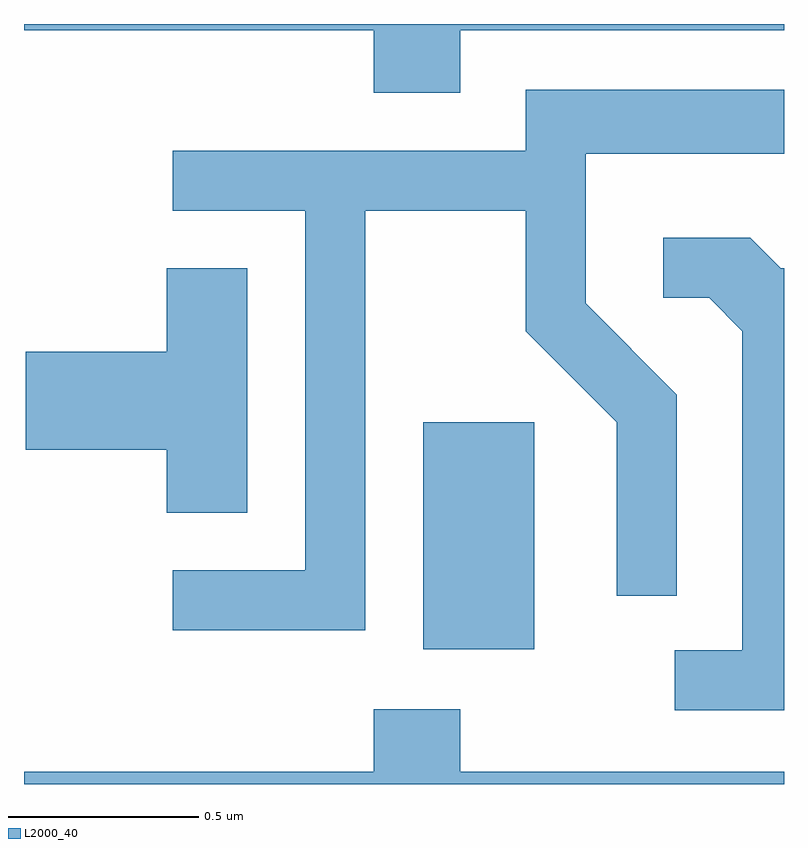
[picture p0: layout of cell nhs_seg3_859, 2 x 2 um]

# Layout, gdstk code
import gdstk
lib = gdstk.Library(unit=1e-6, precision=1e-09)
def R(c, l, rs):  # rectangles x0, y0, x1, y1
    for r in rs: c.add(gdstk.rectangle(r[:2], r[2:], *l))
def P(c, l, *ps):  # polygons
    for p in ps: c.add(gdstk.Polygon(p, *l))
L2000_40 = (2000, 40)

nhs_seg3_859 = lib.new_cell('nhs_seg3_859')
R(nhs_seg3_859, L2000_40, [(192.661,1153.246,192.954,1153.844)])
P(nhs_seg3_859, L2000_40, [(192.759,1154.876),(193.611,1154.876),(193.611,1154.892),(191.611,1154.892),(191.611,1154.876),(192.531,1154.876),(192.531,1154.711),(192.759,1154.711)],
  [(192.509,1154.401),(192.931,1154.401),(192.931,1154.084),(193.171,1153.844),(193.171,1153.388),(193.329,1153.388),(193.329,1153.917),(193.089,1154.157),(193.089,1154.551),(193.611,1154.551),(193.611,1154.719),(192.931,1154.719),(192.931,1154.559),(192.003,1154.559),(192.003,1154.401),(192.351,1154.401),(192.351,1153.454),(192.003,1153.454),(192.003,1153.296),(192.509,1153.296)],
  [(193.611,1154.249),(193.602,1154.249),(193.522,1154.329),(193.293,1154.329),(193.293,1154.171),(193.414,1154.171),(193.501,1154.084),(193.501,1153.244),(193.323,1153.244),(193.323,1153.086),(193.611,1153.086)],
  [(192.199,1154.249),(191.986,1154.249),(191.986,1154.029),(191.616,1154.029),(191.616,1153.771),(191.986,1153.771),(191.986,1153.606),(192.199,1153.606)],
  [(193.611,1152.924),(192.759,1152.924),(192.759,1153.089),(192.531,1153.089),(192.531,1152.924),(191.611,1152.924),(191.611,1152.892),(193.611,1152.892)])

lib.write_gds('nhs_seg3_859.gds')
